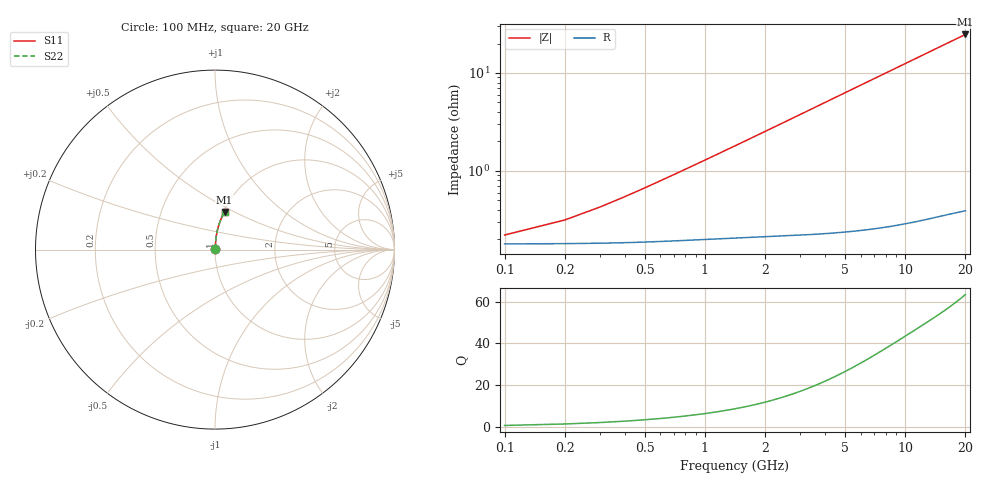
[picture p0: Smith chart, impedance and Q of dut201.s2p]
! Touchstone file exported from HFSS 2024.1.0
!  File:  C:/UserFiles/LocalFiles/RDL_TSV_Batchsim/temp_RDL_top_201_1778687014.aedt
!  Generated:  11:45:56 PM May 13, 2026
!  Design:  RDL_top
!  Project:  temp_RDL_top_201_1778687014
!  Setup:  Setup1
!  Solution:  Sweep
! Variables:
!  dtsv = 10.80580581um
!  hbump = 3um
!  htsv = 96.18um
!  ldown = 100um
!  lrdl = 125.92um
!  p = 40
!  p1 = 58.53um
!  rhole = 1um
!  t = 450um
!  tdown = 3.915915916um
!  trdl = 2.27um
!  wdown = 15.38538539um
!  wrdl = 13.18um
# GHz S MA R 50.000000
! Terminal data exported
! Port[1] = Box2_T1
! Port[2] = Box2_T2
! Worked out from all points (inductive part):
!   200 points, 100 MHz to 20 GHz, reference 50 ohm
!   read as one part in series: L = 203 pH near 500 MHz
!   highest Q = 63.4 at 20 GHz (marker M1), where L = 197 pH
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0.1  0.002101 31.7  0.9982 -0.1  0.9982 -0.1  0.002101 31.7
! Gamma 0 0 0 0
! Port Impedance 50 0 50 0
0.2  0.002847 50.7  0.9982 -0.2  0.9982 -0.2  0.002847 50.7
0.3  0.003771 61.1  0.9982 -0.3  0.9982 -0.3  0.003771 61.1
0.4  0.004765 67.1  0.9981 -0.3  0.9981 -0.3  0.004765 67.1
0.5  0.00579 71.0  0.9981 -0.4  0.9981 -0.4  0.00579 71.0
0.6  0.006828 73.7  0.9981 -0.5  0.9981 -0.5  0.006828 73.7
0.8  0.008921 77.1  0.998 -0.7  0.998 -0.7  0.008921 77.1
1.1  0.01208 80.0  0.9978 -0.9  0.9978 -0.9  0.01208 80.0
1.5  0.0163 82.1  0.9976 -1.2  0.9976 -1.2  0.0163 82.1
1.8  0.01947 83.1  0.9975 -1.5  0.9975 -1.5  0.01947 83.1
2.1  0.02266 83.8  0.9973 -1.7  0.9973 -1.7  0.02266 83.8
2.7  0.02906 84.6  0.9969 -2.2  0.9969 -2.2  0.02906 84.6
3.5  0.03764 85.1  0.9962 -2.9  0.9962 -2.9  0.03764 85.1
4.2  0.0452 85.2  0.9954 -3.4  0.9954 -3.4  0.0452 85.2
5  0.05388 85.2  0.9945 -4.1  0.9945 -4.1  0.05388 85.2
5.9  0.0637 85.0  0.9933 -4.8  0.9933 -4.8  0.0637 85.0
6.8  0.07357 84.7  0.992 -5.5  0.992 -5.5  0.07357 84.7
8.3  0.09009 83.9  0.9896 -6.7  0.9896 -6.7  0.09009 83.9
10.1  0.11 82.9  0.9863 -8.0  0.9863 -8.0  0.11 82.9
13.4  0.1462 80.6  0.9796 -10.5  0.9796 -10.5  0.1462 80.6
16.7  0.1819 78.2  0.9719 -13.0  0.9719 -13.0  0.1819 78.2
20  0.2167 75.8  0.9634 -15.4  0.9634 -15.4  0.2167 75.8
